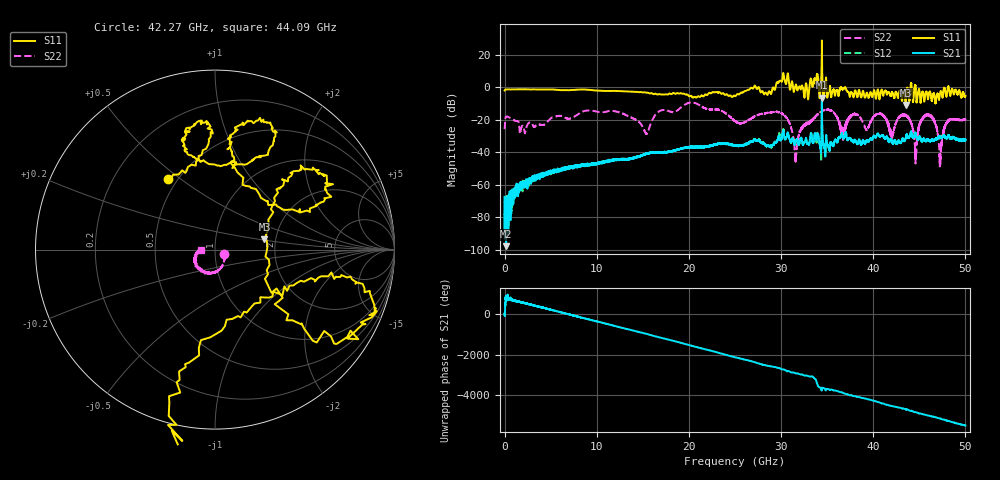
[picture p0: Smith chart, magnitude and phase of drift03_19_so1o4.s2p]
!Created with skrf (http://scikit-rf.org).
# Hz S RI R 50.0
!freq ReS11 ImS11 ReS21 ImS21 ReS12 ImS12 ReS22 ImS22
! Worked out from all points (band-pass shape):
!   10000 points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, 5.3 MHz to 50 GHz, reference 50 ohm
!   highest |S21| = -6.51 dB at 34.43 GHz (marker M1); lowest = -97.7 dB at 170.3 MHz (marker M2)
!   |S21| within 3 dB of the highest: 34.42742 GHz to 34.4351 GHz (7.672 MHz wide, 0.0223 % of centre)
!   lowest |S11| = -11.0 dB at 43.51 GHz (marker M3), VSWR 1.78, Z = 87.2 + j10.8 ohm
!   |S11| at or under -10 dB: 43.501 GHz to 43.54705 GHz (46.05 MHz wide, 0.106 % of centre)
!   |S22| runs from -48.7 to -9.4 dB; largest |S21 - S12| = 0.14
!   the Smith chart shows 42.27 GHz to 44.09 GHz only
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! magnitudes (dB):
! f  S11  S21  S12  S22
! 5.3 MHz  -2.1  -67.3  -77.4  -25.8
! 170.3 MHz  -1.4  -97.7  -80.9  -18.1
! 2.265 GHz  -1.3  -58.6  -58.2  -27.5
! 8.34 GHz  -1.5  -47.6  -48.1  -15.4
! 15.39 GHz  -3.4  -40.7  -40.9  -28.7
! 16.67 GHz  -4.4  -40.0  -39.9  -15.3
! 20.45 GHz  -6.5  -36.9  -37.0  -9.5
! 25.01 GHz  -5.5  -35.9  -35.8  -20.9
! 29.93 GHz  4.0  -32.3  -31.9  -15.7
! 31.6 GHz  1.5  -33.7  -34.1  -44.4
! 33.34 GHz  2.6  -30.1  -30.3  -20.3
! 34.43 GHz  28.7  -6.5  -8.3  -14.6
! 36.69 GHz  -1.3  -29.8  -29.8  -28.9
! 37.96 GHz  -3.6  -32.8  -32.8  -16.6
! 41.67 GHz  -3.2  -33.5  -33.5  -23.8
! 43.51 GHz  -11.0  -31.6  -31.6  -17.2
! 44.6 GHz  -0.9  -28.8  -28.9  -43.5
! 45.27 GHz  -3.9  -33.2  -33.4  -19.9
! 46.28 GHz  -5.5  -32.8  -32.7  -17.5
! 47.29 GHz  -2.9  -30.8  -31.1  -44.5
! 48.11 GHz  0.0  -30.2  -30.2  -20.8
! 50 GHz  -5.3  -32.2  -32.6  -19.7
